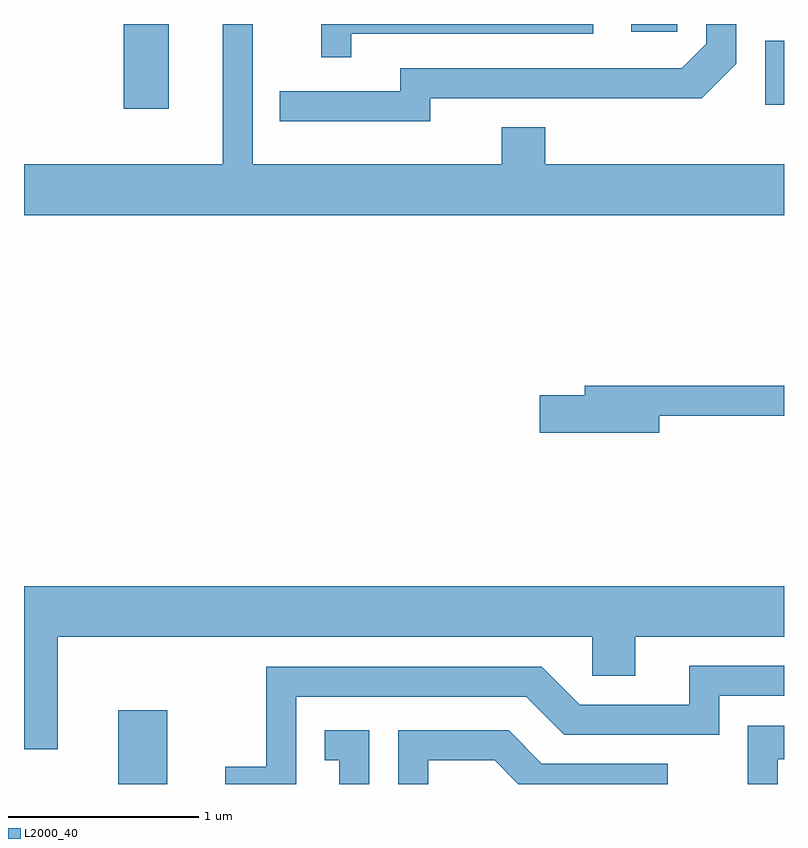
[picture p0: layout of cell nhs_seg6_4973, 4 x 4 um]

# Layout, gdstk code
import gdstk
lib = gdstk.Library(unit=1e-6, precision=1e-09)
def R(c, l, rs):  # rectangles x0, y0, x1, y1
    for r in rs: c.add(gdstk.rectangle(r[:2], r[2:], *l))
def P(c, l, *ps):  # polygons
    for p in ps: c.add(gdstk.Polygon(p, *l))
L2000_40 = (2000, 40)

nhs_seg6_4973 = lib.new_cell('nhs_seg6_4973')
R(nhs_seg6_4973, L2000_40, [(338.106,1538.162,338.364,1538.549), (338.136,1541.716,338.374,1542.162), (341.511,1541.738,341.611,1542.074), (340.808,1542.121,341.049,1542.162)])
P(nhs_seg6_4973, L2000_40, [(341.611,1541.424),(340.354,1541.424),(340.354,1541.619),(340.126,1541.619),(340.126,1541.424),(338.814,1541.424),(338.814,1542.162),(338.656,1542.162),(338.656,1541.424),(337.611,1541.424),(337.611,1541.156),(341.611,1541.156)],
  [(339.334,1542.111),(340.608,1542.111),(340.608,1542.162),(339.176,1542.162),(339.176,1541.988),(339.334,1541.988)],
  [(339.749,1541.771),(341.177,1541.771),(341.359,1541.954),(341.359,1542.162),(341.201,1542.162),(341.201,1542.057),(341.074,1541.929),(339.591,1541.929),(339.591,1541.809),(338.958,1541.809),(338.958,1541.651),(339.749,1541.651)],
  [(340.954,1540.101),(341.611,1540.101),(341.611,1540.259),(340.561,1540.259),(340.561,1540.209),(340.326,1540.209),(340.326,1540.011),(340.954,1540.011)],
  [(337.789,1538.936),(340.601,1538.936),(340.601,1538.731),(340.829,1538.731),(340.829,1538.936),(341.611,1538.936),(341.611,1539.204),(337.611,1539.204),(337.611,1538.346),(337.789,1538.346)],
  [(339.044,1538.621),(340.254,1538.621),(340.454,1538.421),(341.269,1538.421),(341.269,1538.626),(341.611,1538.626),(341.611,1538.784),(341.111,1538.784),(341.111,1538.579),(340.537,1538.579),(340.337,1538.779),(338.886,1538.779),(338.886,1538.254),(338.671,1538.254),(338.671,1538.162),(339.044,1538.162)],
  [(341.579,1538.291),(341.611,1538.291),(341.611,1538.469),(341.421,1538.469),(341.421,1538.162),(341.579,1538.162)],
  [(339.739,1538.286),(340.089,1538.286),(340.213,1538.162),(340.999,1538.162),(340.999,1538.269),(340.337,1538.269),(340.162,1538.444),(339.581,1538.444),(339.581,1538.162),(339.739,1538.162)],
  [(339.429,1538.444),(339.193,1538.444),(339.193,1538.286),(339.271,1538.286),(339.271,1538.162),(339.429,1538.162)])

lib.write_gds('nhs_seg6_4973.gds')
